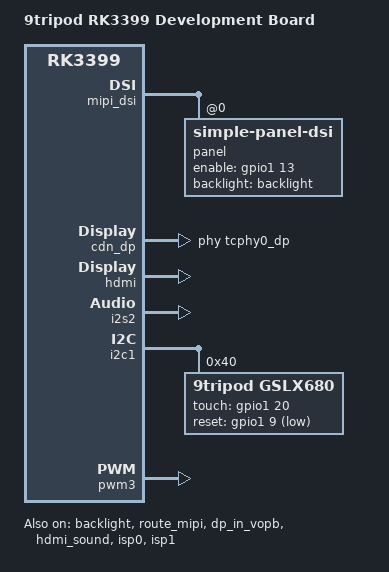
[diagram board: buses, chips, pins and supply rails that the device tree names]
/*
 * Copyright (c) 2016 Fuzhou Rockchip Electronics Co., Ltd
 *
 * This file is dual-licensed: you can use it either under the terms
 * of the GPL or the X11 license, at your option. Note that this dual
 * licensing only applies to this file, and not this project as a
 * whole.
 *
 *  a) This file is free software; you can redistribute it and/or
 *     modify it under the terms of the GNU General Public License as
 *     published by the Free Software Foundation; either version 2 of the
 *     License, or (at your option) any later version.
 *
 *     This file is distributed in the hope that it will be useful,
 *     but WITHOUT ANY WARRANTY; without even the implied warranty of
 *     MERCHANTABILITY or FITNESS FOR A PARTICULAR PURPOSE.  See the
 *     GNU General Public License for more details.
 *
 * Or, alternatively,
 *
 *  b) Permission is hereby granted, free of charge, to any person
 *     obtaining a copy of this software and associated documentation
 *     files (the "Software"), to deal in the Software without
 *     restriction, including without limitation the rights to use,
 *     copy, modify, merge, publish, distribute, sublicense, and/or
 *     sell copies of the Software, and to permit persons to whom the
 *     Software is furnished to do so, subject to the following
 *     conditions:
 *
 *     The above copyright notice and this permission notice shall be
 *     included in all copies or substantial portions of the Software.
 *
 *     THE SOFTWARE IS PROVIDED "AS IS", WITHOUT WARRANTY OF ANY KIND,
 *     EXPRESS OR IMPLIED, INCLUDING BUT NOT LIMITED TO THE WARRANTIES
 *     OF MERCHANTABILITY, FITNESS FOR A PARTICULAR PURPOSE AND
 *     NONINFRINGEMENT. IN NO EVENT SHALL THE AUTHORS OR COPYRIGHT
 *     HOLDERS BE LIABLE FOR ANY CLAIM, DAMAGES OR OTHER LIABILITY,
 *     WHETHER IN AN ACTION OF CONTRACT, TORT OR OTHERWISE, ARISING
 *     FROM, OUT OF OR IN CONNECTION WITH THE SOFTWARE OR THE USE OR
 *     OTHER DEALINGS IN THE SOFTWARE.
 */

/dts-v1/;

#include <dt-bindings/input/input.h>
#include "x3399-baseboard.dtsi"
#include "rk3399-android.dtsi"
#include "rk3399-vop-clk-set.dtsi"

/ {
	model = "9tripod RK3399 Development Board";
	compatible = "rockchip,android", "9tripod,x3399-development-board", "rockchip,rk3399";

/*	edp_panel: edp-panel {
		compatible = "lg,lp079qx1-sp0v", "panel-simple";
		backlight = <&backlight>;
		power-supply = <&vcc3v3_s0>;
		enable-gpios = <&gpio4 30 GPIO_ACTIVE_HIGH>;

		ports {
			panel_in_edp: endpoint {
				remote-endpoint = <&edp_out_panel>;
			};
		};
	};
*/

	test-power {
		status = "okay";
	};

	rt5651 {
		status = "okay";
	};
};

&backlight {
	status = "okay";
};

/*
&edp {
	status = "okay";

	ports {
		edp_out: port@1 {
			reg = <1>;
			#address-cells = <1>;
			#size-cells = <0>;

			edp_out_panel: endpoint@0 {
				reg = <0>;
				remote-endpoint = <&panel_in_edp>;
			};
		};
	};
};
*/

/*
&route_edp {
	status = "okay";
};
*/

&mipi_dsi {
	status = "okay";
	panel {
		compatible ="simple-panel-dsi";
		reg = <0>;
		backlight = <&backlight>;
		enable-gpios = <&gpio1 13 GPIO_ACTIVE_HIGH>;
		dsi,flags = <(MIPI_DSI_MODE_VIDEO | MIPI_DSI_MODE_VIDEO_BURST |
				MIPI_DSI_MODE_VIDEO_SYNC_PULSE)>;
		dsi,format = <MIPI_DSI_FMT_RGB888>;
		dsi,lanes = <4>;
		status = "okay";

		display-timings {
			native-mode = <&timing0>;
			timing0: timing0 {
				clock-frequency = <70000000>;
				hactive = <1024>;
				vactive = <600>;
				hback-porch = <80>;
				hfront-porch = <80>;
				vback-porch = <20>;
				vfront-porch = <12>;
				hsync-len = <2>;
				vsync-len = <3>;
				hsync-active = <0>;
				vsync-active = <0>;
				de-active = <0>;
				pixelclk-active = <0>;
			};
		};
	};
};

&route_mipi {
	status = "okay";
};

&cdn_dp {
	status = "okay";
	extcon = <&fusb0>;
	phys = <&tcphy0_dp>;
};

&edp_in_vopl {
	status = "disabled";
};

&dp_in_vopb {
	status = "okay";
};

&hdmi {
	status = "okay";
};

&hdmi_in_vopb {
	status = "disabled";
};

&hdmi_sound {
	status = "okay";
};

&i2s2 {
	status = "okay";
};

&i2c1 {
	status = "okay";

/*	gsl3673: gsl3673@40 {
		compatible = "GSL,GSL3673";
		reg = <0x40>;
		screen_max_x = <1536>;
		screen_max_y = <2048>;
		irq_gpio_number = <&gpio1 20 IRQ_TYPE_LEVEL_LOW>;
		rst_gpio_number = <&gpio4 22 GPIO_ACTIVE_HIGH>;
	};
*/

	gslx680@40 { 
        compatible = "9tripod,gslx680";
        reg = <0x40>;
        touch-gpio = <&gpio1 20 IRQ_TYPE_EDGE_RISING>;
        reset-gpio = <&gpio1 9 GPIO_ACTIVE_LOW>;
        max-x = <1024>;
        max-y = <600>;
    };
};

&pwm3 {
	status = "okay";
	interrupts = <GIC_SPI 61 IRQ_TYPE_LEVEL_HIGH 0>;
	compatible = "rockchip,remotectl-pwm";
	remote_pwm_id = <3>;
	handle_cpu_id = <0>;

	ir_key0 {
		rockchip,usercode = <0xff40>;
		rockchip,key_table =
			<0xb2	KEY_POWER>,
			<0xe5	KEY_HOME>,
			<0xbd	KEY_BACK>,
			<0xba	KEY_MENU>,
			<0xf4	KEY_UP>,
			<0xf1	KEY_DOWN>,
			<0xef	KEY_LEFT>,
			<0xee	KEY_RIGHT>,
			<0xf2	KEY_ENTER>,
			<0xf0	KEY_REPLY>,
			<0xea	KEY_VOLUMEUP>,
			<0xe3	KEY_VOLUMEDOWN>,
			<0xbc	KEY_MUTE>,
			<0xfe	KEY_1>,
			<0xfd	KEY_2>,
			<0xfc	KEY_3>,
			<0xfb	KEY_4>,
			<0xfa	KEY_5>,
			<0xf9	KEY_6>,
			<0xf8	KEY_7>,
			<0xf7	KEY_8>,
			<0xb6	KEY_9>,
			<0xff	KEY_0>,
			<0xed	KEY_BACKSPACE>,

			<0xaf	KEY_POWER>,
			<0x8b	KEY_VOLUMEUP>,
			<0xb9	KEY_VOLUMEDOWN>;
	};
};

&vopb {
	assigned-clocks = <&cru DCLK_VOP0_DIV>;
	assigned-clock-parents = <&cru PLL_CPLL>;
};

&vopl {
	assigned-clocks = <&cru DCLK_VOP1_DIV>;
	assigned-clock-parents = <&cru PLL_VPLL>;
};

&isp0 {
	status = "okay";
};

&isp1 {
	status = "okay";
};

&isp0_mmu {
	status = "okay";
};

&isp1_mmu {
	status = "okay";
};

&pinctrl {
	lcd-panel {
		lcd_panel_reset: lcd-panel-reset {
			rockchip,pins = <4 30 RK_FUNC_GPIO &pcfg_pull_up>;
		};
	};
};

